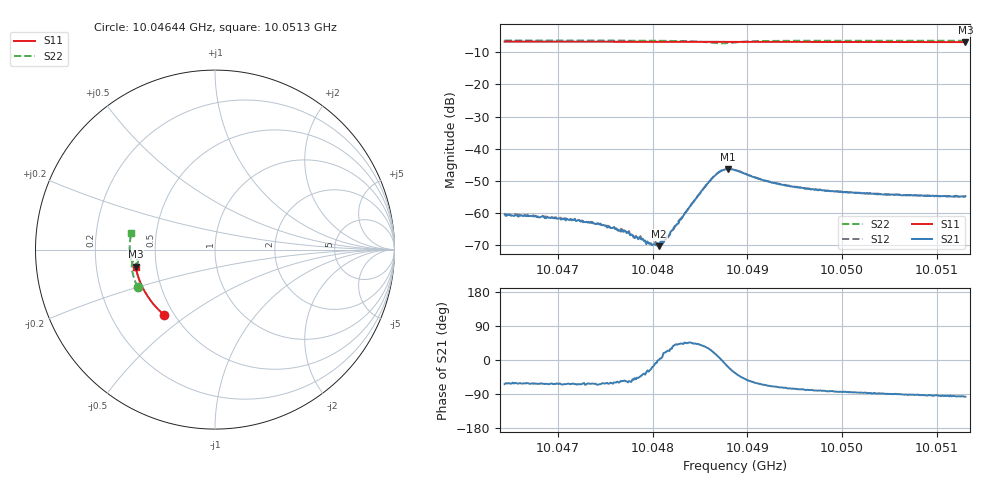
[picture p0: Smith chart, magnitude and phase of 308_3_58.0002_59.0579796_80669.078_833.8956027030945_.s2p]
#  HZ  S  RI  R  50.00
! Rohde & Schwarz Vector Network Analyzer
! Rohde-Schwarz,ZNB20-2Port,1311601062101988,3.16
! Created: UTC 3/21/2024, 1:04:05 AM
! freq[Hz]  re:S11  im:S11  re:S21  im:S21  re:S12  im:S12  re:S22  im:S22
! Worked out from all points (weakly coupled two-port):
!   401 points, 10.04644 GHz to 10.0513 GHz, reference 50 ohm
!   highest |S21| = -46.32 dB at 10.0488 GHz (marker M1); lowest = -70.3 dB at 10.04807 GHz (marker M2)
!   lowest |S11| = -6.9 dB at 10.0513 GHz (marker M3), VSWR 2.65, Z = 19 - j4.53 ohm
!   |S11| at or under -10 dB: nowhere
!   |S22| runs from -7.3 to -6.4 dB; largest |S21 - S12| = 0.00036
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1.0046436e10  -0.2824 -0.3646  0.000428 -0.000861  0.000526 -0.000809  -0.4316 -0.2094
1.0046825e10  -0.3017 -0.3476  0.000425 -0.000775  0.00046 -0.000789  -0.4418 -0.1853
1.0047251e10  -0.322 -0.3279  0.000339 -0.000679  0.000364 -0.000675  -0.4514 -0.1577
1.0047446e10  -0.3306 -0.3184  0.000304 -0.000617  0.000357 -0.000555  -0.4551 -0.1448
1.0047689e10  -0.3411 -0.3064  0.000291 -0.000424  0.000321 -0.000433  -0.4593 -0.1279
1.0047726e10  -0.3427 -0.3044  0.000271 -0.000408  0.000317 -0.000425  -0.4599 -0.1253
1.0047823e10  -0.3468 -0.2994  0.00027 -0.000334  0.000304 -0.000324  -0.4612 -0.1181
1.0047884e10  -0.3492 -0.2964  0.000297 -0.000256  0.000306 -0.000251  -0.4617 -0.1137
1.0047957e10  -0.3522 -0.2925  0.000291 -0.000175  0.000308 -0.000154  -0.4625 -0.1082
1.0048018e10  -0.3547 -0.2894  0.000318 -7.12e-05  0.000322 -7.07e-05  -0.4631 -0.1037
1.0048067e10  -0.3567 -0.2868  0.000307 1.68e-06  0.000337 1.92e-05  -0.4634 -0.0995
1.0048128e10  -0.3592 -0.2837  0.000365 0.000128  0.000383 0.000126  -0.4636 -0.0947
1.0048164e10  -0.3606 -0.2816  0.000395 0.000184  0.000356 0.000224  -0.4639 -0.0916
1.0048408e10  -0.3698 -0.2685  0.000944 0.000958  0.000894 0.00103  -0.4599 -0.0693
1.0048627e10  -0.3775 -0.2563  0.00316 0.00139  0.00309 0.00161  -0.4399 -0.0544
1.0048712e10  -0.3804 -0.2518  0.00439 0.000326  0.00441 0.000586  -0.4297 -0.0611
1.0048797e10  -0.3832 -0.2471  0.00459 -0.0015  0.00469 -0.00124  -0.4311 -0.0732
1.004887e10  -0.3856 -0.2432  0.00383 -0.0026  0.00404 -0.00241  -0.4404 -0.0783
1.0049259e10  -0.3985 -0.2208  0.00104 -0.00278  0.00126 -0.00277  -0.4693 -0.0507
1.0049685e10  -0.4108 -0.1956  0.000445 -0.00233  0.000556 -0.00229  -0.475 -0.0171
1.0050501e10  -0.4296 -0.1455  8.82e-06 -0.00195  0.000125 -0.00193  -0.4741 0.0399
1.0051304e10  -0.4424 -0.0946  -0.00022 -0.00182  -0.000101 -0.00181  -0.4661 0.0931
